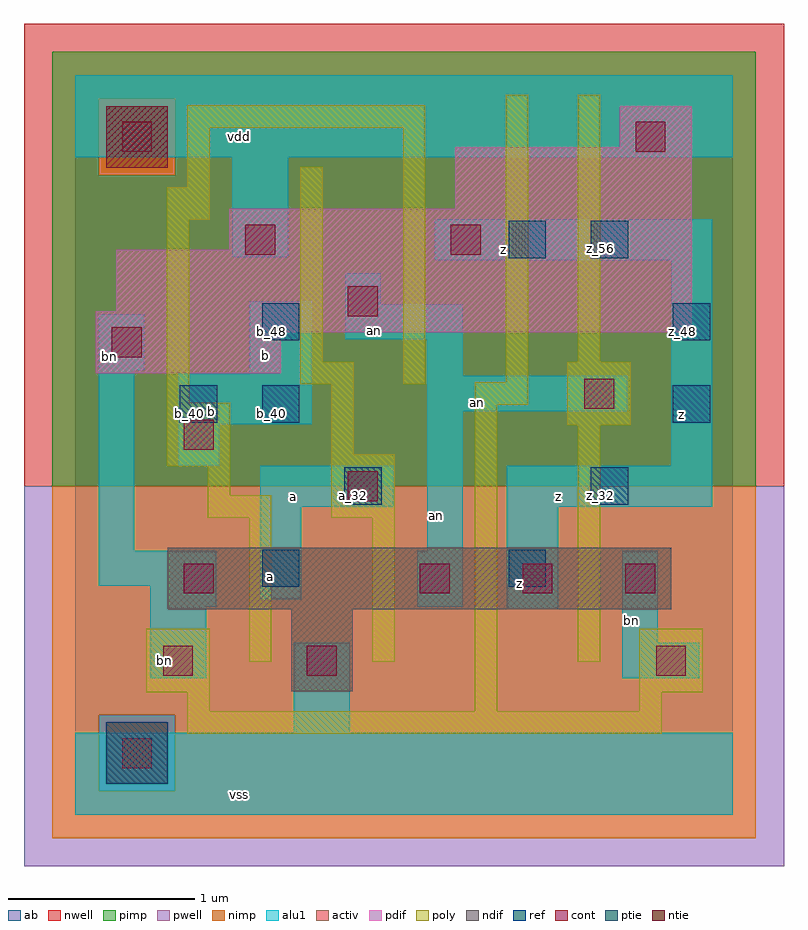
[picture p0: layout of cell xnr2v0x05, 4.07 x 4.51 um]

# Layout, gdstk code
import gdstk
lib = gdstk.Library(unit=1e-6, precision=2.5e-09)
def R(c, l, rs):  # rectangles x0, y0, x1, y1
    for r in rs: c.add(gdstk.rectangle(r[:2], r[2:], *l))
def A(c, l, x, y, w, h, nx, ny, dx, dy):  # array of equal rectangles
    R(c, l, [(x+i*dx, y+j*dy, x+i*dx+w, y+j*dy+h) for i in range(nx) for j in range(ny)])
ndif = (3, 0)
pdif = (4, 0)
ntie = (5, 0)
ptie = (6, 0)
ref = (24, 0)
cont = (25, 0)
pwell = (41, 0)
nwell = (42, 0)
activ = (43, 0)
pimp = (44, 0)
nimp = (45, 0)
poly = (46, 0)
alu1 = (49, 0)
ab = (63, 0)

xnr2v0x05 = lib.new_cell('xnr2v0x05')
R(xnr2v0x05, ndif, [(1.155,0.66,1.485,1.1), (0.495,1.1,3.19,1.43)])
R(xnr2v0x05, pdif, [(0.11,2.365,1.1,2.585), (0.11,2.585,3.3,2.695), (0.22,2.695,3.3,3.025), (0.825,3.025,3.3,3.245), (2.035,3.245,3.3,3.575), (2.915,3.575,3.3,3.795)])
R(xnr2v0x05, ntie, [(0.165,3.465,0.495,3.795)])
R(xnr2v0x05, ptie, [(0.165,0.165,0.495,0.495)])
R(xnr2v0x05, ref, [(1,1.22,1.2,1.42), (2.32,1.22,2.52,1.42), (1.44,1.66,1.64,1.86), (2.76,1.66,2.96,1.86), (0.56,2.1,0.76,2.3), (1,2.1,1.2,2.3), (3.2,2.1,3.4,2.3), (1,2.54,1.2,2.74), (3.2,2.54,3.4,2.74), (2.32,2.98,2.52,3.18), (2.76,2.98,2.96,3.18)])
A(xnr2v0x05, cont, 1.845, 1.185, 0.16, 0.16, 3, 1, 0.55, 0)
R(xnr2v0x05, cont, [(0.25,0.25,0.41,0.41), (0.47,0.745,0.63,0.905), (1.24,0.745,1.4,0.905), (3.11,0.745,3.27,0.905), (0.58,1.185,0.74,1.345), (1.46,1.68,1.62,1.84), (0.58,1.955,0.74,2.115), (2.725,2.175,2.885,2.335), (0.195,2.45,0.355,2.61), (1.46,2.67,1.62,2.83), (0.91,3,1.07,3.16), (2.01,3,2.17,3.16), (0.25,3.55,0.41,3.71), (3,3.55,3.16,3.71)])
R(xnr2v0x05, pwell, [(-0.275,-0.275,3.795,1.76)])
R(xnr2v0x05, nwell, [(-0.275,1.76,3.795,4.235)])
R(xnr2v0x05, activ, [(0.165,0.165,0.495,0.495), (1.155,0.66,1.485,1.1), (0.495,1.1,3.19,1.43), (0.11,2.365,1.1,2.585), (0.11,2.585,3.3,2.695), (0.22,2.695,3.3,3.025), (0.825,3.025,3.3,3.245), (2.035,3.245,3.3,3.575), (0.165,3.465,0.495,3.795), (2.915,3.575,3.3,3.795)])
R(xnr2v0x05, pimp, [(0.125,0.125,0.535,0.535), (-0.125,1.76,3.645,3.425), (-0.125,3.425,0.125,3.835), (0.535,3.425,3.645,3.835), (-0.125,3.835,3.645,4.085)])
R(xnr2v0x05, nimp, [(-0.125,-0.125,3.645,0.125), (-0.125,0.125,0.125,0.535), (0.535,0.125,3.645,0.535), (-0.125,0.535,3.645,1.76), (0.125,3.425,0.535,3.835)])
R(xnr2v0x05, poly, [(0.6,0.435,3.14,0.555), (0.6,0.555,0.72,0.655), (2.14,0.555,2.26,2.195), (3.02,0.555,3.14,0.655), (0.38,0.655,0.72,0.995), (3.02,0.655,3.36,0.995), (0.93,0.82,1.05,1.59), (1.59,0.82,1.71,1.59), (2.69,0.82,2.81,2.085), (0.71,1.59,1.05,1.71), (1.37,1.59,1.71,1.93), (0.71,1.71,0.83,1.865), (0.49,1.865,0.83,2.205), (1.37,1.93,1.49,2.305), (2.635,2.085,2.975,2.425), (2.14,2.195,2.425,2.315), (0.49,2.205,0.61,3.185), (1.205,2.305,1.49,2.425), (1.755,2.305,1.875,3.68), (2.305,2.315,2.425,3.855), (1.205,2.425,1.325,3.47), (2.69,2.425,2.81,3.855), (0.49,3.185,0.72,3.36), (0.6,3.36,0.72,3.68), (0.6,3.68,1.875,3.8)])
R(xnr2v0x05, alu1, [(0,0,3.52,0.44), (1.17,0.44,1.47,0.92), (0.4,0.73,0.7,1.115), (2.93,0.73,3.34,0.92), (2.93,0.92,3.12,1.415), (2.31,1.1,2.585,1.65), (0.4,1.115,0.755,1.225), (1.83,1.115,2.075,1.415), (0.99,1.155,1.21,1.65), (0.125,1.225,0.755,1.415), (0.125,1.415,0.315,2.38), (1.885,1.415,2.075,2.16), (0.99,1.65,1.705,1.87), (2.31,1.65,3.41,1.87), (0.55,1.87,0.77,2.09), (3.19,1.87,3.41,2.97), (0.55,2.09,1.265,2.365), (1.885,2.16,2.955,2.35), (1.885,2.35,2.075,2.545), (0.935,2.365,1.265,2.75), (0.125,2.38,0.37,2.68), (1.445,2.545,2.075,2.735), (1.445,2.735,1.635,2.9), (1.925,2.97,3.41,3.19), (0.84,2.985,1.14,3.52), (0,3.52,3.52,3.96)])
R(xnr2v0x05, ab, [(0,0,3.52,3.96)])
xnr2v0x05.add(gdstk.Label('vss', (0.88,0.11), layer=49, texttype=0))
xnr2v0x05.add(gdstk.Label('bn', (2.9775,1.0425), layer=49, texttype=0))
xnr2v0x05.add(gdstk.Label('z', (2.3775,1.2375), layer=49, texttype=0))
xnr2v0x05.add(gdstk.Label('bn', (0.475,0.825), layer=49, texttype=0))
xnr2v0x05.add(gdstk.Label('z', (2.585,1.705), layer=49, texttype=0))
xnr2v0x05.add(gdstk.Label('z', (3.245,2.145), layer=49, texttype=0))
xnr2v0x05.add(gdstk.Label('an', (1.9325,1.6), layer=49, texttype=0))
xnr2v0x05.add(gdstk.Label('a', (1.045,1.2775), layer=49, texttype=0))
xnr2v0x05.add(gdstk.Label('a', (1.1675,1.705), layer=49, texttype=0))
xnr2v0x05.add(gdstk.Label('an', (2.1525,2.2075), layer=49, texttype=0))
xnr2v0x05.add(gdstk.Label('b', (0.7275,2.1575), layer=49, texttype=0))
xnr2v0x05.add(gdstk.Label('an', (1.6025,2.5925), layer=49, texttype=0))
xnr2v0x05.add(gdstk.Label('b', (1.0175,2.46), layer=49, texttype=0))
xnr2v0x05.add(gdstk.Label('bn', (0.185,2.455), layer=49, texttype=0))
xnr2v0x05.add(gdstk.Label('z', (2.295,3.025), layer=49, texttype=0))
xnr2v0x05.add(gdstk.Label('vdd', (0.88,3.63), layer=49, texttype=0))
xnr2v0x05.add(gdstk.Label('z_56', (2.37,3.03), layer=24, texttype=0))
xnr2v0x05.add(gdstk.Label('z_32', (2.81,1.71), layer=24, texttype=0))
xnr2v0x05.add(gdstk.Label('a_32', (1.49,1.71), layer=24, texttype=0))
xnr2v0x05.add(gdstk.Label('a_24', (1.05,1.27), layer=24, texttype=0))
xnr2v0x05.add(gdstk.Label('b_40', (0.61,2.15), layer=24, texttype=0))
xnr2v0x05.add(gdstk.Label('b_48', (1.05,2.59), layer=24, texttype=0))
xnr2v0x05.add(gdstk.Label('z_40', (3.25,2.15), layer=24, texttype=0))
xnr2v0x05.add(gdstk.Label('z_24', (2.37,1.27), layer=24, texttype=0))
xnr2v0x05.add(gdstk.Label('b_40', (1.05,2.15), layer=24, texttype=0))
xnr2v0x05.add(gdstk.Label('z_56', (2.81,3.03), layer=24, texttype=0))
xnr2v0x05.add(gdstk.Label('z_48', (3.25,2.59), layer=24, texttype=0))

lib.write_gds('xnr2v0x05.gds')
